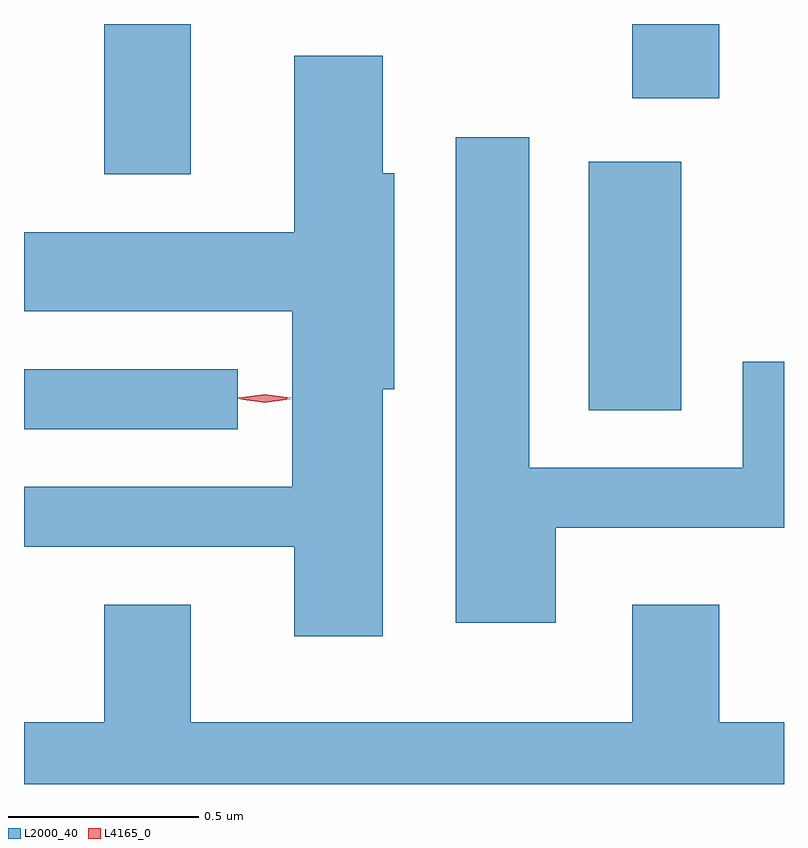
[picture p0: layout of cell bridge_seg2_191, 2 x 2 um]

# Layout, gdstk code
import gdstk
lib = gdstk.Library(unit=1e-6, precision=1e-09)
def R(c, l, rs):  # rectangles x0, y0, x1, y1
    for r in rs: c.add(gdstk.rectangle(r[:2], r[2:], *l))
def P(c, l, *ps):  # polygons
    for p in ps: c.add(gdstk.Polygon(p, *l))
L2000_40 = (2000, 40)
L4165_0 = (4165, 0)

bridge_seg2_191 = lib.new_cell('bridge_seg2_191')
R(bridge_seg2_191, L2000_40, [(724.04,1029.376,724.603,1029.534), (725.526,1029.426,725.769,1030.079), (724.251,1030.046,724.479,1030.442), (725.641,1030.246,725.869,1030.442)])
P(bridge_seg2_191, L2000_40, [(724.984,1029.481),(725.014,1029.481),(725.014,1030.049),(724.984,1030.049),(724.984,1030.359),(724.751,1030.359),(724.751,1029.894),(724.04,1029.894),(724.04,1029.686),(724.746,1029.686),(724.746,1029.224),(724.04,1029.224),(724.04,1029.066),(724.751,1029.066),(724.751,1028.831),(724.984,1028.831)],
  [(725.439,1029.116),(726.04,1029.116),(726.04,1029.553),(725.931,1029.553),(725.931,1029.274),(725.369,1029.274),(725.369,1030.144),(725.176,1030.144),(725.176,1028.866),(725.439,1028.866)],
  [(726.04,1028.604),(725.869,1028.604),(725.869,1028.914),(725.641,1028.914),(725.641,1028.604),(724.479,1028.604),(724.479,1028.914),(724.251,1028.914),(724.251,1028.604),(724.04,1028.604),(724.04,1028.442),(726.04,1028.442)])
P(bridge_seg2_191, L4165_0, [(724.673,1029.448),(724.604,1029.457),(724.604,1029.458),(724.604,1029.458),(724.673,1029.468),(724.742,1029.459),(724.743,1029.458),(724.742,1029.458)],
  [(724.673,1029.445),(724.608,1029.454),(724.607,1029.455),(724.608,1029.455),(724.673,1029.465),(724.739,1029.455),(724.74,1029.455),(724.739,1029.454)])

lib.write_gds('bridge_seg2_191.gds')
